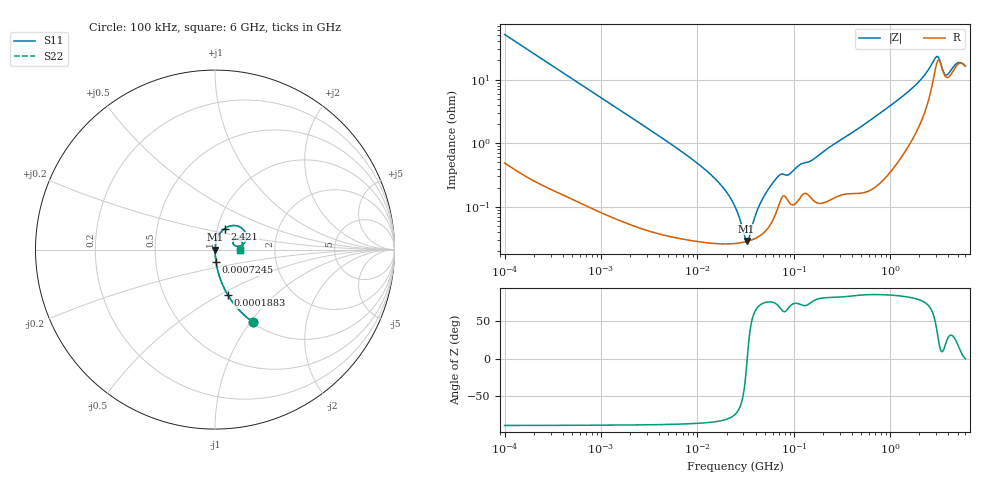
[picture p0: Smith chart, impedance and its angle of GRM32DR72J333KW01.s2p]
!Murata Part Number: GRM32DR72J333KW01
!These Parameters are Measured in Series Mode Connection
!Data Generated on Mar 30, 2021
!  o--ll--o
!Port1  Port2
!  o------o
!Operation Temp=25[degC], DC Bias Voltage=0[V]
!Freq. Start=100[kHz] Stop=6[GHz] 401[Steps]
# Hz S RI R 50
!Freq.(Hz) S11(Real) S11(Imag) S21(Real) S21(Imag) S12(Real) S12(Imag) S22(Real) S22(Imag)
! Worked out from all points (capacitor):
!   401 points, 100 kHz to 6 GHz, reference 50 ohm
!   read as one part in series: C = 31 nF near 105.7 kHz
!   lowest |Z| = 28.9 mohm at 32.25 MHz (marker M1)
!   series resonance near 32.8 MHz, so ESL is about 760 pH
!   S11 on the Smith chart (normalised r, x): 100 kHz: 1.01, -1.03; 188.3 kHz: 1.01, -0.55; 724.5 kHz: 1.00, -0.14; 2.421 GHz: 1.08, +0.26; 6 GHz: 1.33, -0.00
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100000  0.2106 -0.4031  0.7894 0.4031  0.7894 0.4031  0.2106 -0.4031
188254  0.0717 -0.2532  0.9283 0.2532  0.9283 0.2532  0.0717 -0.2532
631452  0.00779 -0.0814  0.9922 0.0814  0.9922 0.0814  0.00779 -0.0814
724548  0.0061 -0.0711  0.9939 0.0711  0.9939 0.0711  0.0061 -0.0711
3987316  0.000543 -0.013  0.9995 0.013  0.9995 0.013  0.000543 -0.013
1.413084e7  0.000276 -0.00307  0.9997 0.00307  0.9997 0.00307  0.000276 -0.00307
1.965679e7  0.000264 -0.00175  0.9997 0.00175  0.9997 0.00175  0.000264 -0.00175
2.517799e7  0.000266 -0.000879  0.9997 0.000879  0.9997 0.000879  0.000266 -0.000879
3.224998e7  0.000284 -5.54e-05  0.9997 5.54e-05  0.9997 5.54e-05  0.000284 -5.54e-05
3.407377e7  0.000291 0.000127  0.9997 -0.000127  0.9997 -0.000127  0.000291 0.000127
4.018763e7  0.000321 0.000688  0.9997 -0.000688  0.9997 -0.000688  0.000321 0.000688
4.486152e7  0.000355 0.00108  0.9996 -0.00108  0.9996 -0.00108  0.000355 0.00108
6.414516e7  0.000756 0.00257  0.9992 -0.00257  0.9992 -0.00257  0.000756 0.00257
1.546735e8  0.00134 0.00525  0.9987 -0.00525  0.9987 -0.00525  0.00134 0.00525
9.76689e8  0.00477 0.0375  0.9952 -0.0375  0.9952 -0.0375  0.00477 0.0375
1.74024e9  0.0177 0.0736  0.9823 -0.0736  0.9823 -0.0736  0.0177 0.0736
2.420771e9  0.0539 0.1171  0.9461 -0.1171  0.9461 -0.1171  0.0539 0.1171
3.016594e9  0.1637 0.1049  0.8363 -0.1049  0.8363 -0.1049  0.1637 0.1049
3.367428e9  0.1437 0.0208  0.8563 -0.0208  0.8563 -0.0208  0.1437 0.0208
3.759065e9  0.1007 0.0334  0.8993 -0.0334  0.8993 -0.0334  0.1007 0.0334
4.949184e9  0.1486 0.0452  0.8514 -0.0452  0.8514 -0.0452  0.1486 0.0452
6e9  0.1403 -0.000544  0.8597 0.000544  0.8597 0.000544  0.1403 -0.000544
